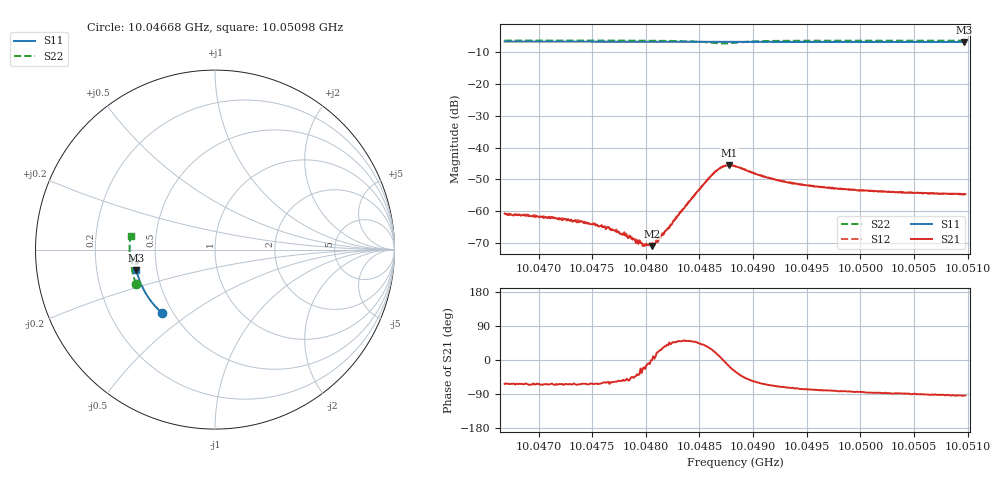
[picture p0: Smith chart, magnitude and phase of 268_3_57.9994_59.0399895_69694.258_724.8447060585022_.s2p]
#  HZ  S  RI  R  50.00
! Rohde & Schwarz Vector Network Analyzer
! Rohde-Schwarz,ZNB20-2Port,1311601062101988,3.16
! Created: UTC 3/21/2024, 1:02:16 AM
! freq[Hz]  re:S11  im:S11  re:S21  im:S21  re:S12  im:S12  re:S22  im:S22
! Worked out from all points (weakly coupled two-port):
!   401 points, 10.04668 GHz to 10.05098 GHz, reference 50 ohm
!   highest |S21| = -45.60 dB at 10.04878 GHz (marker M1); lowest = -70.9 dB at 10.04806 GHz (marker M2)
!   lowest |S11| = -6.9 dB at 10.05097 GHz (marker M3), VSWR 2.66, Z = 19.1 - j5.52 ohm
!   |S11| at or under -10 dB: nowhere
!   |S22| runs from -7.3 to -6.4 dB; largest |S21 - S12| = 0.00038
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1.0046683e10  -0.2958 -0.3535  0.000412 -0.00082  0.000472 -0.000803  -0.4393 -0.1919
1.0047112e10  -0.3164 -0.3339  0.000352 -0.000689  0.000396 -0.000705  -0.4494 -0.1646
1.0047403e10  -0.3295 -0.32  0.000319 -0.000617  0.000329 -0.0006  -0.4551 -0.1453
1.0047639e10  -0.3399 -0.3082  0.000288 -0.000479  0.000292 -0.000446  -0.4594 -0.129
1.0047703e10  -0.3427 -0.3049  0.000268 -0.000425  0.000327 -0.000397  -0.4604 -0.1245
1.0047843e10  -0.3484 -0.2978  0.000227 -0.000314  0.000276 -0.00031  -0.4624 -0.1142
1.0047983e10  -0.3542 -0.2905  0.000269 -9.39e-05  0.000289 -8.68e-05  -0.4636 -0.1037
1.0048058e10  -0.3572 -0.2865  0.000284 -1.38e-06  0.000311 5.15e-05  -0.4643 -0.0977
1.004809e10  -0.3585 -0.2849  0.00032 5.03e-05  0.000327 0.000104  -0.4644 -0.0951
1.0048122e10  -0.3597 -0.2832  0.000334 0.000144  0.000331 0.000158  -0.4646 -0.0924
1.0048187e10  -0.3623 -0.2799  0.000398 0.000289  0.000391 0.000325  -0.4645 -0.0868
1.0048337e10  -0.368 -0.2716  0.000658 0.000795  0.000602 0.000829  -0.4627 -0.0727
1.0048616e10  -0.378 -0.2562  0.00329 0.0017  0.00323 0.00187  -0.4383 -0.0501
1.0048702e10  -0.3808 -0.2517  0.00484 0.000448  0.00485 0.000718  -0.4258 -0.0587
1.0048777e10  -0.3833 -0.2474  0.00502 -0.00151  0.00516 -0.00119  -0.4273 -0.0729
1.0048831e10  -0.3851 -0.2445  0.00438 -0.00256  0.00457 -0.00228  -0.4353 -0.0787
1.0049153e10  -0.396 -0.2262  0.00131 -0.00306  0.0015 -0.00295  -0.4671 -0.0578
1.0049347e10  -0.4019 -0.215  0.000798 -0.0027  0.000963 -0.00266  -0.4723 -0.0409
1.0049551e10  -0.4078 -0.2028  0.000535 -0.00245  0.000668 -0.00242  -0.4745 -0.0248
1.0050271e10  -0.4256 -0.159  9.32e-05 -0.00201  0.000225 -0.00202  -0.4752 0.0267
1.0050969e10  -0.4384 -0.115  -0.000121 -0.00186  -5.46e-05 -0.00182  -0.4701 0.0737
1.005098e10  -0.4388 -0.1144  -0.000119 -0.00185  -2.96e-05 -0.00181  -0.4699 0.0743
